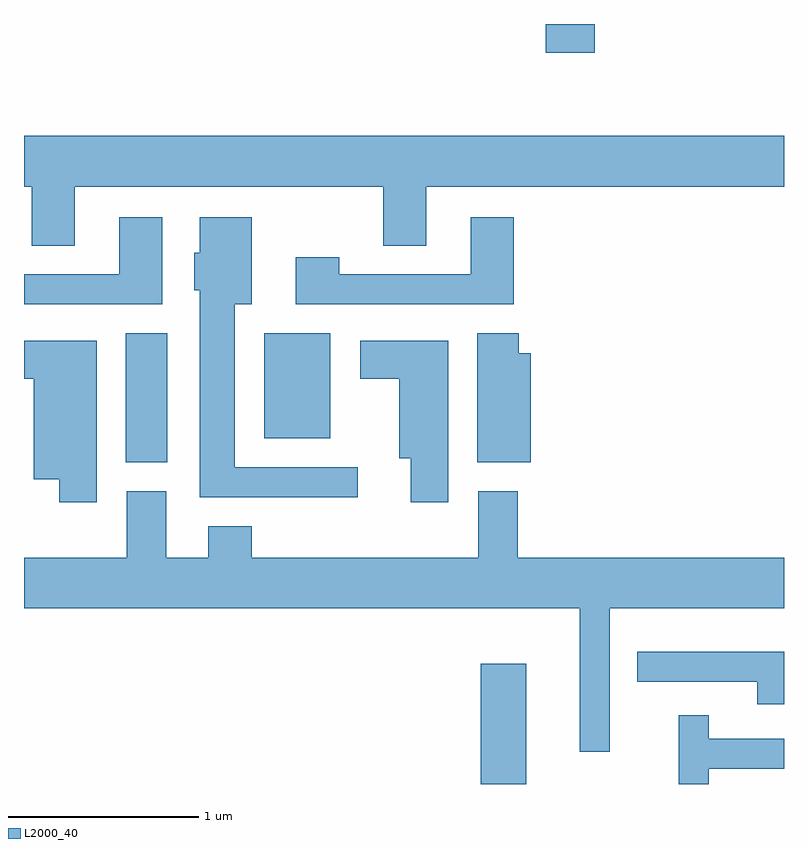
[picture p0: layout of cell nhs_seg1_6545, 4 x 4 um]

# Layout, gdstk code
import gdstk
lib = gdstk.Library(unit=1e-6, precision=1e-09)
def R(c, l, rs):  # rectangles x0, y0, x1, y1
    for r in rs: c.add(gdstk.rectangle(r[:2], r[2:], *l))
def P(c, l, *ps):  # polygons
    for p in ps: c.add(gdstk.Polygon(p, *l))
L2000_40 = (2000, 40)

nhs_seg1_6545 = lib.new_cell('nhs_seg1_6545')
R(nhs_seg1_6545, L2000_40, [(384.016,949.712,384.254,950.344), (382.146,951.406,382.364,952.084), (382.876,951.531,383.224,952.084), (384.356,953.561,384.614,953.712)])
P(nhs_seg1_6545, L2000_40, [(381.879,952.856),(383.501,952.856),(383.501,952.546),(383.729,952.546),(383.729,952.856),(385.611,952.856),(385.611,953.124),(381.611,953.124),(381.611,952.856),(381.651,952.856),(381.651,952.546),(381.879,952.546)],
  [(384.189,952.694),(383.961,952.694),(383.961,952.394),(383.269,952.394),(383.269,952.484),(383.041,952.484),(383.041,952.236),(384.189,952.236)],
  [(382.339,952.694),(382.111,952.694),(382.111,952.394),(381.611,952.394),(381.611,952.236),(382.339,952.236)],
  [(383.368,951.379),(382.719,951.379),(382.719,952.236),(382.809,952.236),(382.809,952.694),(382.536,952.694),(382.536,952.509),(382.506,952.509),(382.506,952.311),(382.536,952.311),(382.536,951.221),(383.368,951.221)],
  [(384.279,951.979),(384.214,951.979),(384.214,952.084),(383.996,952.084),(383.996,951.406),(384.279,951.406)],
  [(381.994,952.044),(381.611,952.044),(381.611,951.846),(381.661,951.846),(381.661,951.316),(381.796,951.316),(381.796,951.196),(381.994,951.196)],
  [(383.844,952.044),(383.381,952.044),(383.381,951.846),(383.586,951.846),(383.586,951.426),(383.646,951.426),(383.646,951.196),(383.844,951.196)],
  [(384.694,950.636),(385.611,950.636),(385.611,950.904),(384.209,950.904),(384.209,951.254),(384.001,951.254),(384.001,950.904),(382.809,950.904),(382.809,951.069),(382.581,951.069),(382.581,950.904),(382.359,950.904),(382.359,951.254),(382.151,951.254),(382.151,950.904),(381.611,950.904),(381.611,950.636),(384.536,950.636),(384.536,949.883),(384.694,949.883)],
  [(385.611,950.409),(384.838,950.409),(384.838,950.251),(385.471,950.251),(385.471,950.131),(385.611,950.131)],
  [(385.214,949.791),(385.611,949.791),(385.611,949.949),(385.214,949.949),(385.214,950.073),(385.056,950.073),(385.056,949.712),(385.214,949.712)])

lib.write_gds('nhs_seg1_6545.gds')
